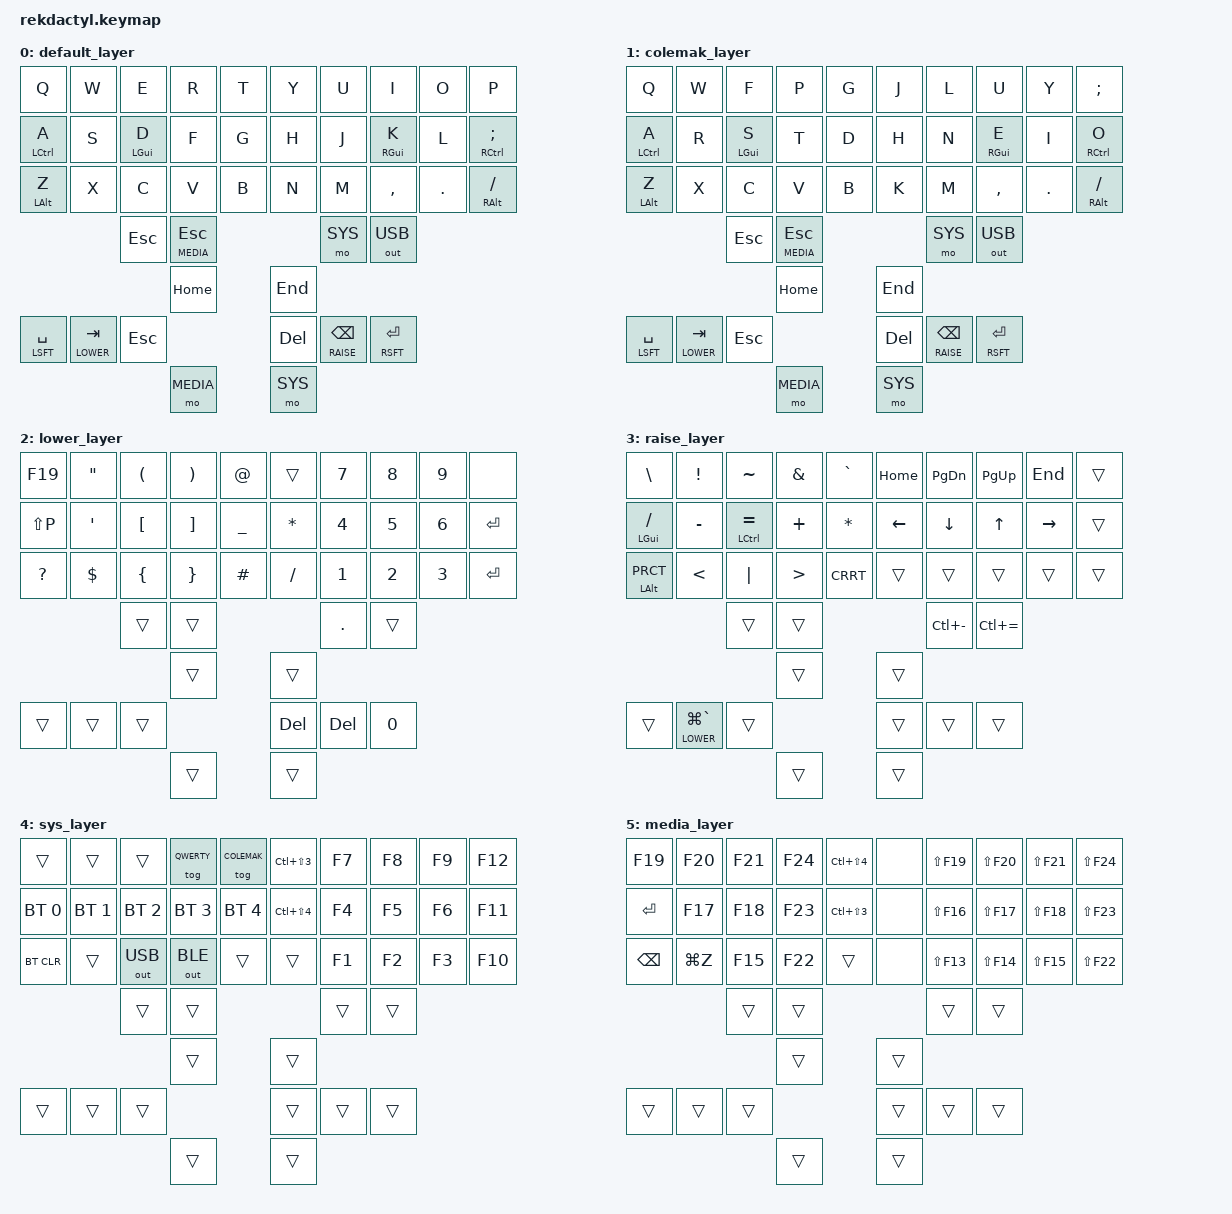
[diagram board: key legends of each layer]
/*
 * Copyright (c) 2020 The ZMK Contributors
 *
 * SPDX-License-Identifier: MIT
 */

/*
 *  west build -b rekdactyl -- -DSHIELD=rekdactyl_left -DZMK_CONFIG="/Users/rishi/Documents/GitHub/zmk-config/config"
 */

#include <behaviors.dtsi>
#include <dt-bindings/zmk/keys.h>
#include <dt-bindings/zmk/bt.h>
#include <dt-bindings/zmk/outputs.h>

#define QWERTY   0
#define COLEMAK  1
#define LOWER    2
#define RAISE    3
#define SYS      4
#define MEDIA    5
#define TRI      6

/ {
        behaviors {
                hm: homerow_mods {
                        compatible = "zmk,behavior-hold-tap";
                        label = "HOMEROW_MODS";
                        #binding-cells = <2>;
                        tapping_term_ms = <180>;
                        flavor = "tap-preferred";
                        bindings = <&kp>, <&kp>;
                };
        };

        conditional_layers {
                compatible = "zmk,conditional-layers";
                tri_layer {
                        if-layers = <LOWER RAISE>;
                        then-layer = <TRI>;
                };
        };

        keymap {
                compatible = "zmk,keymap";

                default_layer {
                        bindings = <
   &kp Q         &kp W      &kp E        &kp R         &kp T            &kp Y         &kp U      &kp I          &kp O      &kp P 
   &hm LCTRL A   &kp S      &hm LGUI D   &kp F         &kp G            &kp H         &kp J      &hm RGUI K     &kp L      &hm RCTRL SCLN
   &hm LALT Z    &kp X      &kp C        &kp V         &kp B            &kp N         &kp M      &kp CMMA       &kp DOT    &hm RALT FSLH
                            &kp ESC   &lt MEDIA ESC                                       &mo SYS    &out OUT_USB
                                         &kp HOME                       &kp END
          &hm LSFT SPC      &lt LOWER TAB &kp ESC                       &kp DEL         &lt RAISE BKSP &hm RSFT RET  
                                         &mo MEDIA                      &mo SYS
                        >;
                };
                
                colemak_layer {
                        bindings = <
   &kp Q         &kp W      &kp F        &kp P         &kp G            &kp J         &kp L      &kp U          &kp Y      &kp SCLN 
   &hm LCTRL A   &kp R      &hm LGUI S   &kp T         &kp D            &kp H         &kp N      &hm RGUI E     &kp I      &hm RCTRL O
   &hm LALT Z    &kp X      &kp C        &kp V         &kp B            &kp K         &kp M      &kp CMMA       &kp DOT    &hm RALT FSLH
                            &kp ESC   &lt MEDIA ESC                                       &mo SYS    &out OUT_USB
                                         &kp HOME                       &kp END
          &hm LSFT SPC      &lt LOWER TAB &kp ESC                       &kp DEL         &lt RAISE BKSP &hm RSFT RET  
                                         &mo MEDIA                      &mo SYS
                        >;
                };

                lower_layer {
                        bindings = <
   &kp F19       &kp DQT    &kp LPAR     &kp RPAR      &kp AT           &trans        &kp N7     &kp N8         &kp N9     &none
   &kp LS(P)     &kp SQT    &kp LBKT     &kp RBKT      &kp UNDER        &kp STAR      &kp N4     &kp N5         &kp N6     &kp RET
   &kp QMARK     &kp DLLR   &kp LBRC     &kp RBRC      &kp HASH         &kp FSLH      &kp N1     &kp N2         &kp N3     &kp RET
                 &trans     &trans                                                      &kp DOT    &trans
                                         &trans         &trans
                           &trans        &trans         &trans           &kp DEL       &kp DEL    &kp N0
                                         &trans         &trans
                        >;
                };
                
                raise_layer {
                        bindings = <
   &kp BSLH      &kp EXCL   &kp TILDE    &kp AMPS      &kp GRAVE        &kp HOME      &kp PG_DN  &kp PG_UP      &kp END    &trans
   &hm LGUI FSLH &kp MINUS  &hm LCTRL EQL &kp PLUS      &kp STAR         &kp LEFT      &kp DOWN   &kp UP         &kp RIGHT  &trans
   &hm LALT PRCT &kp LT     &kp PIPE     &kp GT        &kp CRRT         &trans        &trans     &trans         &trans     &trans
                 &trans     &trans                                                      &kp LC(MINUS) &kp LC(EQL)
                                         &trans         &trans
                           &trans        &lt LOWER LG(GRAVE)         &trans           &trans        &trans     &trans
                                         &trans         &trans
                        >;
                };

                sys_layer {
                        bindings = <
   &trans        &trans     &trans       &tog QWERTY   &tog COLEMAK     &kp LC(LS(N3)) &kp F7     &kp F8         &kp F9     &kp F12    
   &bt BT_SEL 0  &bt BT_SEL 1 &bt BT_SEL 2 &bt BT_SEL 3 &bt BT_SEL 4     &kp LC(LS(N4)) &kp F4     &kp F5         &kp F6     &kp F11
   &bt BT_CLR    &trans     &out OUT_USB &out OUT_BLE  &trans           &trans         &kp F1     &kp F2         &kp F3     &kp F10
                 &trans     &trans                                                      &trans     &trans
                                         &trans         &trans
                           &trans        &trans         &trans           &trans         &trans     &trans
                                         &trans         &trans
                        >;
                };

                media_layer {
                        bindings = <
   &kp F19       &kp F20    &kp F21      &kp F24       &kp LC(LS(N4))   &none &kp LS(F19)   &kp LS(F20) &kp LS(F21)    &kp LS(F24) 
   &kp RET       &kp F17    &kp F18      &kp F23       &kp LC(LS(N3))   &none &kp LS(F16)   &kp LS(F17) &kp LS(F18)    &kp LS(F23) 
   &kp BKSP      &kp LG(Z)  &kp F15      &kp F22       &trans           &none &kp LS(F13)   &kp LS(F14) &kp LS(F15)    &kp LS(F22) 
                 &trans     &trans                                                      &trans      &trans
                                         &trans         &trans
                           &trans        &trans         &trans           &trans         &trans      &trans
                                         &trans         &trans
                        >;
                };
        };
};
